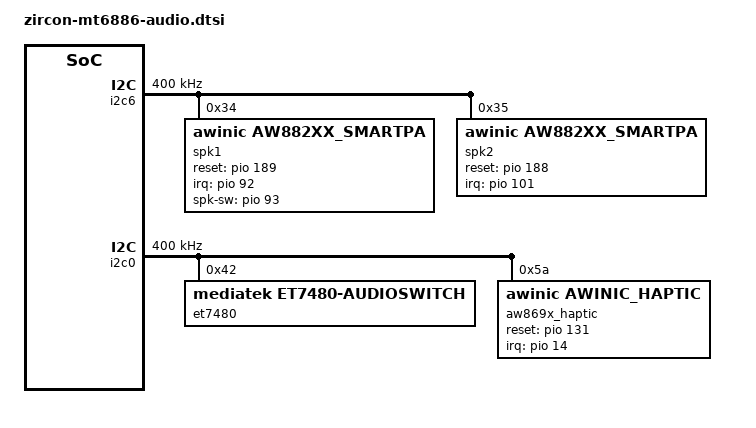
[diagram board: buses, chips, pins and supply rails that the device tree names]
/* Copyright (c) 2018, The Linux Foundation. All rights reserved.
 *
 * This program is free software; you can redistribute it and/or modify
 * it under the terms of the GNU General Public License version 2 and
 * only version 2 as published by the Free Software Foundation.
 *
 * This program is distributed in the hope that it will be useful,
 * but WITHOUT ANY WARRANTY; without even the implied warranty of
 * MERCHANTABILITY or FITNESS FOR A PARTICULAR PURPOSE.  See the
 * GNU General Public License for more details.
 */

&sound {
	compatible = "mediatek,mt6886-mt6368-sound";
	mediatek,platform = <&afe>;
	mediatek,snd_audio_dsp = <&snd_audio_dsp>;
	mediatek,spk-i2s = <3 9>;
	/* mtk_spk_i2s_mck = <3>; */
	mediatek,speaker-codec {
		sound-dai = <&spk1>, <&spk2>;
	};
};

&i2c6 {
	clock-frequency = <400000>;
	status = "okay";
	/* TOP Smart PA */
	spk1: aw882xx_smartpa@34 {
		compatible = "awinic,aw882xx_smartpa";
		#sound-dai-cells = <0>;
		reg = <0x34>;
		reset-gpio = <&pio 189 0>;
		irq-gpio = <&pio 92 0x0>;
		spk-sw-gpio = <&pio 93 0x0>;
		sound-channel = <0>;
		aw-re-min = <4000>;
		aw-re-max= <30000>;
		/*aw-cali-mode = "none";*/
		status = "okay";
	};

	/* BOT Smart PA */
	 spk2: aw882xx_smartpa@35 {
		compatible = "awinic,aw882xx_smartpa";
		#sound-dai-cells = <0>;
		reg = <0x35>;
		reset-gpio = <&pio 188 0>;
		irq-gpio = <&pio 101 0x0>;
		sound-channel = <1>;
		aw-re-min = <4000>;
		aw-re-max= <30000>;
		/*aw-cali-mode = "none";*/
		status = "okay";
        };
};

/* Audio Switch start */
&pio {
	uart_gpio_enable: uart_gpio_enable@gpio0 {
		pins_cmd_dat {
			pinmux = <PINMUX_GPIO0__FUNC_GPIO0>;
			slew-rate = <1>;
			bias-disable;
			output-low;
		};
	};
	uart_gpio_disable: uart_gpio_disable@gpio0 {
		pins_cmd_dat {
			pinmux = <PINMUX_GPIO0__FUNC_GPIO0>;
			slew-rate = <1>;
			bias-disable;
			output-high;
		};
	};
};
&i2c0 {
	et7480: et7480@42 {
		status = "ok";
		compatible = "mediatek,et7480-audioswitch";
		reg = <0x42>;
		pinctrl-names = "uart_enable", "uart_disable";
		pinctrl-0 = <&uart_gpio_enable>;
		pinctrl-1 = <&uart_gpio_disable>;
	};
};
&accdet {
	et7480-i2c-handle = <&et7480>;
};
/* Audio Switch end */


/* AWINIC Haptic start */
&i2c0 {
	clock-frequency = <400000>;
	status = "ok";
	aw869x_haptic@5a {
		compatible = "awinic,awinic_haptic";
		reg = <0x5A>;
		reset-gpio = <&pio 131 0>;
		irq-gpio = <&pio 14 0>;
		pinctrl-names = "awinic_reset_low","awinic_reset_high","awinic_interrupt_high";
		pinctrl-0 = <&awinic_reset_low>;
		pinctrl-1 = <&awinic_reset_high>;
		pinctrl-2 = <&awinic_interrupt>;
		/*----------------------aw869x----------------------*/
		aw869x_vib_mode = < 0 >; /*mode:   RAM mode->0; CONT mode -> 1*/
		aw869x_vib_f0_pre = < 1700 >;
		aw869x_vib_f0_cali_percen = < 7 >;
		aw869x_vib_cont_drv_lev = < 105 >;
		aw869x_vib_cont_drv_lvl_ov = < 125 >;
		aw869x_vib_cont_td = < 0x009A >;
		aw869x_vib_cont_zc_thr = < 0x0FF1 >;
		aw869x_vib_cont_num_brk = < 3 >;
		aw869x_vib_f0_coeff = < 260 >; /*Don't modify it 2.604167*/
		aw869x_vib_f0_trace_parameter = < 0x05 0x03 0x02 0x0f >;
		aw869x_vib_bemf_config = < 0x10 0x08 0x03 0xf8 >;
		aw869x_vib_sw_brake = < 0x2c >;
		aw869x_vib_tset = < 0x12 >;
		aw869x_vib_r_spare = < 0x68 >;
		aw869x_vib_bstdbg = < 0x30 0xeb 0xd4 0 0 0 >;
		aw869x_vib_trig_config = < 0 1 0 1 2
					   0 1 0 1 2
					   0 1 0 1 2 >;
		aw869x_vib_bst_vol_default = < 0x21 >;
		aw869x_vib_bst_vol_ram = < 0x21 >;
		aw869x_vib_bst_vol_rtp = < 0x21 >;
		/*----------------------aw8692x----------------------*/
		aw86927_vib_mode = < 0 >; /* mode: RAM mode->0; CONT mode->1 */
		aw86927_vib_f0_pre = < 1700 >;
		aw86927_vib_f0_cali_percen = < 8 >;
		aw86927_vib_cont_drv1_lvl = < 0x7F >;
		aw86927_vib_cont_drv2_lvl = < 0x34 >;
		aw86927_vib_cont_lra_vrms = < 1200 >;
		aw86927_vib_cont_drv1_time = < 0x04 >;
		aw86927_vib_cont_drv2_time = < 0x06 >;
		aw86927_vib_cont_drv_width = < 0x6A >;
		aw86927_vib_cont_wait_num = < 0x06 >;
		aw86927_vib_cont_brk_time = < 0x00 >;
		aw86927_vib_cont_track_margin = < 0x0C >;
		aw86927_vib_brk_bst_md = < 0 >;
		aw86927_vib_cont_tset = < 0x06 >;
		aw86927_vib_cont_bemf_set = < 0x02 >;
		aw86927_vib_cont_bst_brk_gain = < 0x05 >;
		aw86927_vib_cont_brk_gain = < 0x08 >;
		aw86927_vib_d2s_gain = < 0x04 >;
		aw86927_vib_trig_config = < 0 0 0 1 0 2 0 0
					    0 0 0 1 0 2 0 0
					    0 0 0 1 0 2 0 0 >;
		aw86927_vib_bst_vol_default = < 0x57 >;
		aw86927_vib_bst_vol_ram = < 0x57 >;
		aw86927_vib_bst_vol_rtp = < 0x57 >;
		/*----------------------aw8692x----------------------*/
		aw86907_vib_mode = < 0 >; /* mode: RAM mode->0; CONT mode->1 */
		aw86907_vib_brk_bst_md = < 0 >;
		aw86907_vib_f0_ref = < 1700 >;
		aw86907_vib_f0_cali_percent = < 7 >;
		aw86907_vib_cont_drv1_lvl = < 0x7F >;
		aw86907_vib_cont_drv2_lvl = < 0x36 >;
		aw86907_vib_cont_brk_time = < 0x00 >;
		aw86907_vib_cont_tset = < 0x06 >;
		aw86907_vib_cont_bemf_set = < 0x02 >;
		aw86907_vib_cont_drv_width = < 0x6A >;
		aw86907_vib_cont_wait_num = < 0x06 >;
		aw86907_vib_cont_bst_brk_gain = < 0x05 >;
		aw86907_vib_cont_brk_gain = < 0x08 >;
		aw86907_vib_cont_drv1_time = < 0x04 >;
		aw86907_vib_cont_drv2_time = < 0x14 >;
		aw86907_vib_cont_track_margin = < 0x12 >;
		aw86907_vib_sine_array = < 0x05 0xB2 0xFF 0xEF >;
		aw86907_vib_d2s_gain = < 0x04 >;
		aw86907_vib_bstcfg = < 0x20 0x24 0x96 0x40 0x11 >;
		aw86907_vib_prctmode = < 0x2D 0x3E 0x3F >;
		aw86907_vib_trig_config = < 0 0 0 1 0 2 0 0
					    0 0 0 1 0 2 0 0
					    0 0 0 1 0 2 0 0 >;
		aw86907_vib_bst_vol_default = < 0x1A >;
		aw86907_vib_bst_vol_ram = < 0x1A >;
		aw86907_vib_bst_vol_rtp = < 0x1A >;
		/*--------------------common--------------------*/
		vib_effect_id_boundary = < 10 >;
		vib_effect_max = < 197 >; /*vib_effect_max must bigger than vib_effect_id*/
		vib_rtp_time = < 20 20 20 20 20 20 20 20 20000 15000
				15000 20000 25000 15000 30000 25000 20000 20000 20000 20000
				20000 20000 20000 20000 20000 20000 20000 20000 20000 20000
				20000 20000 20000 20000 20000 20000 20000 20000 20000 20000
				20000 20000 20000 20000 20000 20000 20000 20000 20000 20000
				20000 20000 20000 20000 20000 20000 20000 20000 20000 20000
				20000 20000 20000 20000 20000 20000 20000 20000 20000 20000
				20000 20000 20000 20000 20000 20000 20000 20000 20000 20000
				20000 20000 20000 20000 20000 20000 20000 20000 20000 20000
				20000 20000 20000 20000 20000 20000 20000 20000 20000 20000
				20000 20000 20000 20000 20000 20000 20000 20000 20000 20000
				20000 20000 20000 20000 20000 20000 20000 20000 20000 20000
				20000 20000 20000 20000 20000 20000 20000 20000 20000 20000
				20000 20000 20000 20000 20000 20000 20000 20000 20000 20000
				20000 20000 20000 20000 20000 20000 20000 20000 20000 20000
				20000 20000 20000 20000 20000 20000 20000 20000 20000 20000
				20000 20000 20000 20000 20000 20000 20000 20000 20000 20000
				20000 20000 20000 20000 20000 >;
		status = "ok";
		wf_0 {
			/*CLICK*/
			mtk,effect-id = <0>;
			mtk,wf-vmax-mv = <3600>;
			mtk,wf-pattern = [3e 3e];
			mtk,wf-brake-pattern = [02 01 00 00];
			mtk,wf-play-rate-us = <20000>;
		};
		wf_1 {
			/*DOUBLE CLICK*/
			mtk,effect-id = <1>;
			mtk,wf-vmax-mv = <3600>;
			mtk,wf-pattern = [7e 3e];
			mtk,wf-brake-pattern = [03 01 00 00];
			mtk,wf-play-rate-us = <20000>;
		};
		wf_2 {
			/*TICK*/
			mtk,effect-id = <2>;
			mtk,wf-vmax-mv = <3600>;
			mtk,wf-pattern = [7e 3e];
			mtk,wf-brake-pattern = [02 01 00 00];
			mtk,wf-play-rate-us = <20000>;
		};
		wf_3 {
			/*THUD*/
			mtk,effect-id = <3>;
			mtk,wf-vmax-mv = <3600>;
			mtk,wf-pattern = [3e 3e];
			mtk,wf-brake-pattern = [02 01 00 00];
			mtk,wf-play-rate-us = <20000>;
		};
		wf_4 {
			/*POP*/
			mtk,effect-id = <4>;
			mtk,wf-vmax-mv = <3600>;
			mtk,wf-pattern = [3e 3e];
			mtk,wf-brake-pattern = [02 01 00 00];
			mtk,wf-play-rate-us = <28000>;
		};
		wf_5 {
			/*HEAVY CLICK*/
			mtk,effect-id = <5>;
			mtk,wf-vmax-mv = <3600>;
			mtk,wf-pattern = [7e 7e 7e];
			mtk,wf-brake-pattern = [03 03 01 00];
			mtk,wf-play-rate-us = <20000>;
		};
		wf_6 {
			/*id 6*/
			mtk,effect-id = <6>;
			mtk,wf-vmax-mv = <3600>;
			mtk,wf-pattern = [3e 3e];
			mtk,wf-brake-pattern = [02 01 00 00];
			mtk,wf-play-rate-us = <20000>;
		};
		wf_7 {
			/*id 7*/
			mtk,effect-id = <7>;
			mtk,wf-vmax-mv = <3600>;
			mtk,wf-pattern = [3e 3e];
			mtk,wf-brake-pattern = [02 01 00 00];
			mtk,wf-play-rate-us = <20000>;
		};
		wf_8 {
			/*id 8*/
			mtk,effect-id = <8>;
			mtk,wf-vmax-mv = <3600>;
			mtk,wf-pattern = [3e 3e];
			mtk,wf-brake-pattern = [02 01 00 00];
			mtk,wf-play-rate-us = <20000>;
		};
		wf_9 {
			/*id 9*/
			mtk,effect-id = <9>;
			mtk,wf-vmax-mv = <3600>;
			mtk,wf-pattern = [3e 3e];
			mtk,wf-brake-pattern = [02 01 00 00];
			mtk,wf-play-rate-us = <20000>;
		};
	};
};

&pio {
	awinic_reset_low: awinic_reset_low {
		pins_cmd_dat {
			pinmux = <PINMUX_GPIO131__FUNC_GPIO131>;
			drive-strength = <2>;
			slew-rate = <1>;
			bias-disable;
			output-low;
		};
	};
	awinic_reset_high: awinic_reset_high {
		pins_cmd_dat {
			pinmux = <PINMUX_GPIO131__FUNC_GPIO131>;
			drive-strength = <2>;
			slew-rate = <1>;
			bias-disable;
			output-high;
		};
	};
	awinic_interrupt: awinic_interrupt_high {
		pins_cmd_dat {
			pinmux = <PINMUX_GPIO14__FUNC_GPIO14>;
			drive-strength = <2>;
			slew-rate = <0>;
			bias-pull-up;
			input-enable;
		};
	};

};


/* AWINIC Haptic end */

